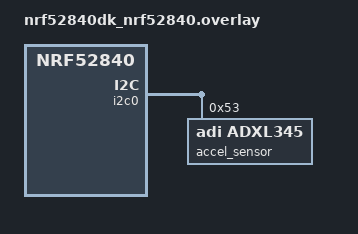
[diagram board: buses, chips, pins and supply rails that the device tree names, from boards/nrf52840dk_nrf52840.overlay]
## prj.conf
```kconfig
CONFIG_PRINTK=y
CONFIG_SENSOR=y
```

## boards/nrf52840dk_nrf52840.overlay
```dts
&i2c0 {
	status = "okay";
	accel_sensor: adxl345@53 {
		compatible = "adi,adxl345";
		reg = <0x53>;
	};
};
```

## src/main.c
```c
#include <zephyr/kernel.h>
#include <zephyr/device.h>
#include <zephyr/drivers/sensor.h>

int main(void)
{
	const struct device *const dev = DEVICE_DT_GET(DT_NODELABEL(accel_sensor));
	struct sensor_value accel_x, accel_y, accel_z;
	int ret;

	if (!device_is_ready(dev)) {
		printk("Accelerometer not ready\n");
		return -ENODEV;
	}

	while (1) {
		ret = sensor_sample_fetch(dev);
		if (ret < 0) {
			printk("sensor_sample_fetch failed: %d\n", ret);
			k_sleep(K_MSEC(100));
			continue;
		}

		ret = sensor_channel_get(dev, SENSOR_CHAN_ACCEL_X, &accel_x);
		if (ret < 0) {
			printk("channel_get ACCEL_X failed: %d\n", ret);
			k_sleep(K_MSEC(100));
			continue;
		}

		ret = sensor_channel_get(dev, SENSOR_CHAN_ACCEL_Y, &accel_y);
		if (ret < 0) {
			printk("channel_get ACCEL_Y failed: %d\n", ret);
			k_sleep(K_MSEC(100));
			continue;
		}

		ret = sensor_channel_get(dev, SENSOR_CHAN_ACCEL_Z, &accel_z);
		if (ret < 0) {
			printk("channel_get ACCEL_Z failed: %d\n", ret);
			k_sleep(K_MSEC(100));
			continue;
		}

		printk("Accel X: %d.%06d  Y: %d.%06d  Z: %d.%06d\n",
		       accel_x.val1, accel_x.val2,
		       accel_y.val1, accel_y.val2,
		       accel_z.val1, accel_z.val2);

		k_sleep(K_MSEC(100));
	}

	return 0;
}
```
